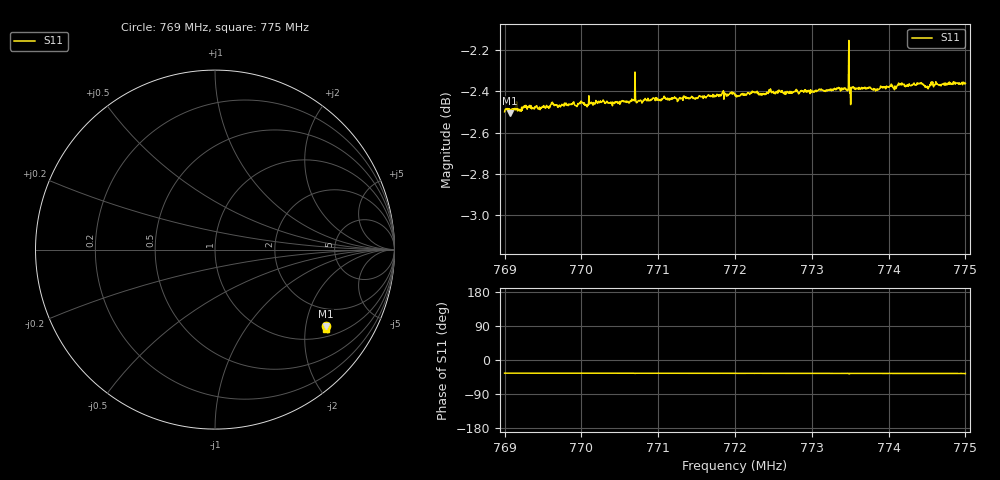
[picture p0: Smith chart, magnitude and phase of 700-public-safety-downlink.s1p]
! Calibrated averaged scanner-service zoom
# Hz S RI R 50
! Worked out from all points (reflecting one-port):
!   1001 points, 769 MHz to 775 MHz, reference 50 ohm
!   lowest |S11| = -2.5 dB at 769.072 MHz (marker M1), VSWR 6.98, Z = 66.5 - j129 ohm
!   phase of S11 starts at -35 deg and turns -1 deg over the sweep
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7.69e8  0.6165 -0.4271
7.69072e8  0.6158 -0.4268
7.6915e8  0.6183 -0.429
7.69462e8  0.6169 -0.4281
7.69618e8  0.6184 -0.431
7.6975e8  0.6182 -0.43
7.6987e8  0.6188 -0.4296
7.69978e8  0.6183 -0.4311
7.7005e8  0.6184 -0.4293
7.705e8  0.6173 -0.4315
7.7065e8  0.6187 -0.4319
7.7068e8  0.6189 -0.4321
7.70776e8  0.6187 -0.4321
7.7125e8  0.6174 -0.4333
7.72e8  0.6192 -0.4359
7.7275e8  0.6193 -0.4377
7.73446e8  0.6194 -0.4392
7.73452e8  0.6194 -0.4392
7.73464e8  0.619 -0.4389
7.735e8  0.6203 -0.4396
7.73512e8  0.6194 -0.44
7.73518e8  0.62 -0.4402
7.7353e8  0.6199 -0.44
7.73818e8  0.6199 -0.4391
7.7425e8  0.6201 -0.4414
7.74412e8  0.6203 -0.4423
7.74484e8  0.6195 -0.4413
7.75e8  0.6193 -0.444
